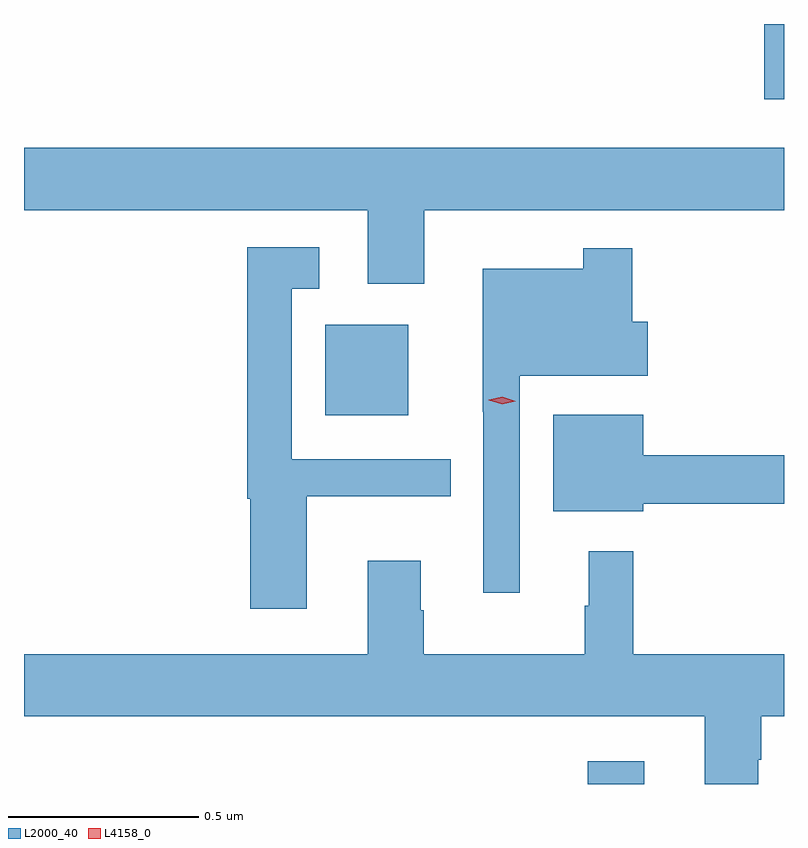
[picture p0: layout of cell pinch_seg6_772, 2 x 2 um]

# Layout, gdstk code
import gdstk
lib = gdstk.Library(unit=1e-6, precision=1e-09)
def R(c, l, rs):  # rectangles x0, y0, x1, y1
    for r in rs: c.add(gdstk.rectangle(r[:2], r[2:], *l))
def P(c, l, *ps):  # polygons
    for p in ps: c.add(gdstk.Polygon(p, *l))
L2000_40 = (2000, 40)
L4158_0 = (4158, 0)

pinch_seg6_772 = lib.new_cell('pinch_seg6_772')
R(pinch_seg6_772, L2000_40, [(508.334,944.494,508.483,944.554), (507.644,945.464,507.862,945.703), (508.799,946.296,508.851,946.494)])
P(pinch_seg6_772, L2000_40, [(507.904,946.004),(508.851,946.004),(508.851,946.168),(506.851,946.168),(506.851,946.004),(507.755,946.004),(507.755,945.81),(507.904,945.81)],
  [(507.595,945.251),(507.974,945.251),(507.974,945.348),(507.555,945.348),(507.555,945.797),(507.628,945.797),(507.628,945.907),(507.439,945.907),(507.439,945.245),(507.446,945.245),(507.446,944.955),(507.595,944.955)],
  [(508.155,945.569),(508.492,945.569),(508.492,945.711),(508.451,945.711),(508.451,945.904),(508.323,945.904),(508.323,945.85),(508.058,945.85),(508.058,945.473),(508.059,945.473),(508.059,944.997),(508.155,944.997)],
  [(508.48,945.231),(508.851,945.231),(508.851,945.359),(508.48,945.359),(508.48,945.466),(508.244,945.466),(508.244,945.212),(508.48,945.212)],
  [(508.783,944.558),(508.791,944.558),(508.791,944.672),(508.851,944.672),(508.851,944.836),(508.454,944.836),(508.454,945.106),(508.337,945.106),(508.337,944.963),(508.326,944.963),(508.326,944.836),(507.903,944.836),(507.903,944.951),(507.895,944.951),(507.895,945.082),(507.755,945.082),(507.755,944.836),(506.851,944.836),(506.851,944.672),(508.643,944.672),(508.643,944.494),(508.783,944.494)])
P(pinch_seg6_772, L4158_0, [(508.109,945.493),(508.074,945.504),(508.074,945.505),(508.074,945.505),(508.11,945.513),(508.145,945.501),(508.145,945.501),(508.145,945.501)])

lib.write_gds('pinch_seg6_772.gds')
